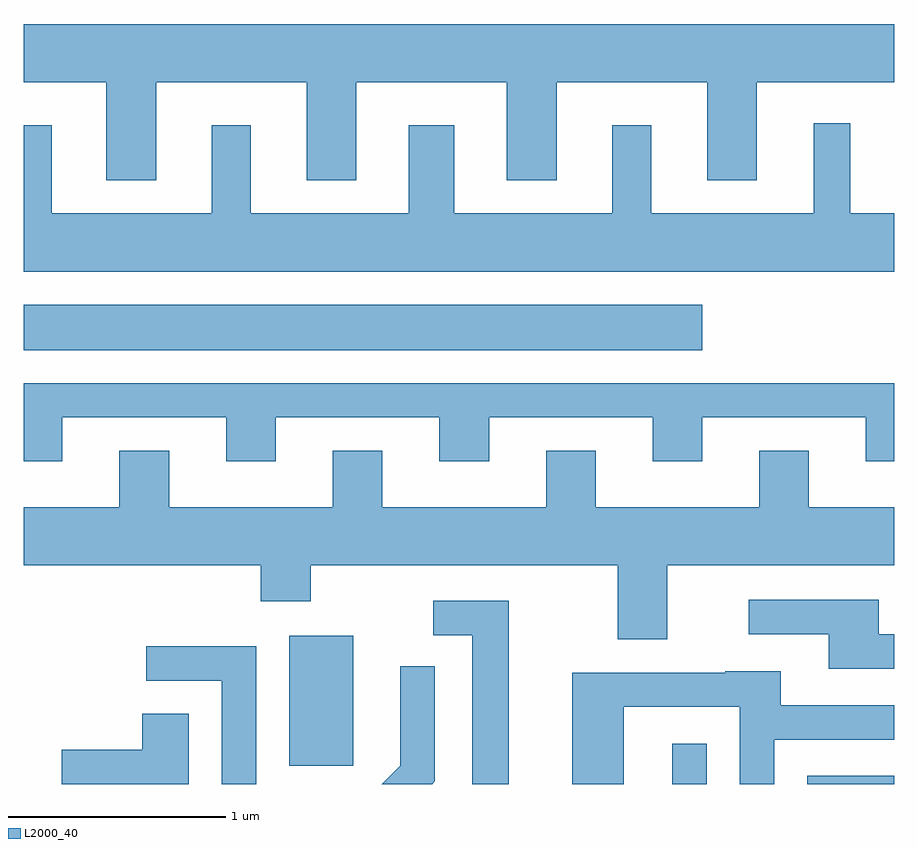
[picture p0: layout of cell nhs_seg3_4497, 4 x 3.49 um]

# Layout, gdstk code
import gdstk
lib = gdstk.Library(unit=1e-6, precision=1e-09)
def R(c, l, rs):  # rectangles x0, y0, x1, y1
    for r in rs: c.add(gdstk.rectangle(r[:2], r[2:], *l))
def P(c, l, *ps):  # polygons
    for p in ps: c.add(gdstk.Polygon(p, *l))
L2000_40 = (2000, 40)

nhs_seg3_4497 = lib.new_cell('nhs_seg3_4497')
R(nhs_seg3_4497, L2000_40, [(320.591,1133.892,320.749,1134.078), (321.211,1133.892,321.611,1133.929), (318.831,1133.976,319.124,1134.574), (317.611,1135.886,320.729,1136.094)])
P(nhs_seg3_4497, L2000_40, [(318.219,1137.116),(318.911,1137.116),(318.911,1136.666),(319.139,1136.666),(319.139,1137.116),(319.831,1137.116),(319.831,1136.666),(320.059,1136.666),(320.059,1137.116),(320.751,1137.116),(320.751,1136.666),(320.979,1136.666),(320.979,1137.116),(321.611,1137.116),(321.611,1137.384),(317.611,1137.384),(317.611,1137.116),(317.991,1137.116),(317.991,1136.666),(318.219,1136.666)],
  [(321.611,1136.514),(321.409,1136.514),(321.409,1136.928),(321.241,1136.928),(321.241,1136.514),(320.494,1136.514),(320.494,1136.919),(320.316,1136.919),(320.316,1136.514),(319.589,1136.514),(319.589,1136.919),(319.381,1136.919),(319.381,1136.514),(318.654,1136.514),(318.654,1136.919),(318.476,1136.919),(318.476,1136.514),(317.739,1136.514),(317.739,1136.919),(317.611,1136.919),(317.611,1136.246),(321.611,1136.246)],
  [(317.789,1135.576),(318.541,1135.576),(318.541,1135.376),(318.769,1135.376),(318.769,1135.576),(319.521,1135.576),(319.521,1135.376),(319.749,1135.376),(319.749,1135.576),(320.501,1135.576),(320.501,1135.376),(320.729,1135.376),(320.729,1135.576),(321.481,1135.576),(321.481,1135.376),(321.611,1135.376),(321.611,1135.734),(317.611,1135.734),(317.611,1135.376),(317.789,1135.376)],
  [(320.569,1134.896),(321.611,1134.896),(321.611,1135.164),(321.219,1135.164),(321.219,1135.424),(320.991,1135.424),(320.991,1135.164),(320.239,1135.164),(320.239,1135.424),(320.011,1135.424),(320.011,1135.164),(319.259,1135.164),(319.259,1135.424),(319.031,1135.424),(319.031,1135.164),(318.279,1135.164),(318.279,1135.424),(318.051,1135.424),(318.051,1135.164),(317.611,1135.164),(317.611,1134.896),(318.701,1134.896),(318.701,1134.731),(318.929,1134.731),(318.929,1134.896),(320.341,1134.896),(320.341,1134.556),(320.569,1134.556)],
  [(321.611,1134.579),(321.539,1134.579),(321.539,1134.739),(320.943,1134.739),(320.943,1134.581),(321.311,1134.581),(321.311,1134.421),(321.611,1134.421)],
  [(319.839,1134.734),(319.493,1134.734),(319.493,1134.576),(319.671,1134.576),(319.671,1133.892),(319.839,1133.892)],
  [(318.679,1134.524),(318.173,1134.524),(318.173,1134.366),(318.521,1134.366),(318.521,1133.892),(318.679,1133.892)],
  [(319.499,1133.904),(319.499,1134.433),(319.341,1134.433),(319.341,1133.977),(319.256,1133.892),(319.487,1133.892)],
  [(320.369,1134.246),(320.901,1134.246),(320.901,1133.892),(321.059,1133.892),(321.059,1134.096),(321.611,1134.096),(321.611,1134.254),(321.089,1134.254),(321.089,1134.409),(320.835,1134.409),(320.835,1134.404),(320.131,1134.404),(320.131,1133.892),(320.369,1133.892)],
  [(318.369,1134.214),(318.156,1134.214),(318.156,1134.049),(317.786,1134.049),(317.786,1133.892),(318.369,1133.892)])

lib.write_gds('nhs_seg3_4497.gds')
